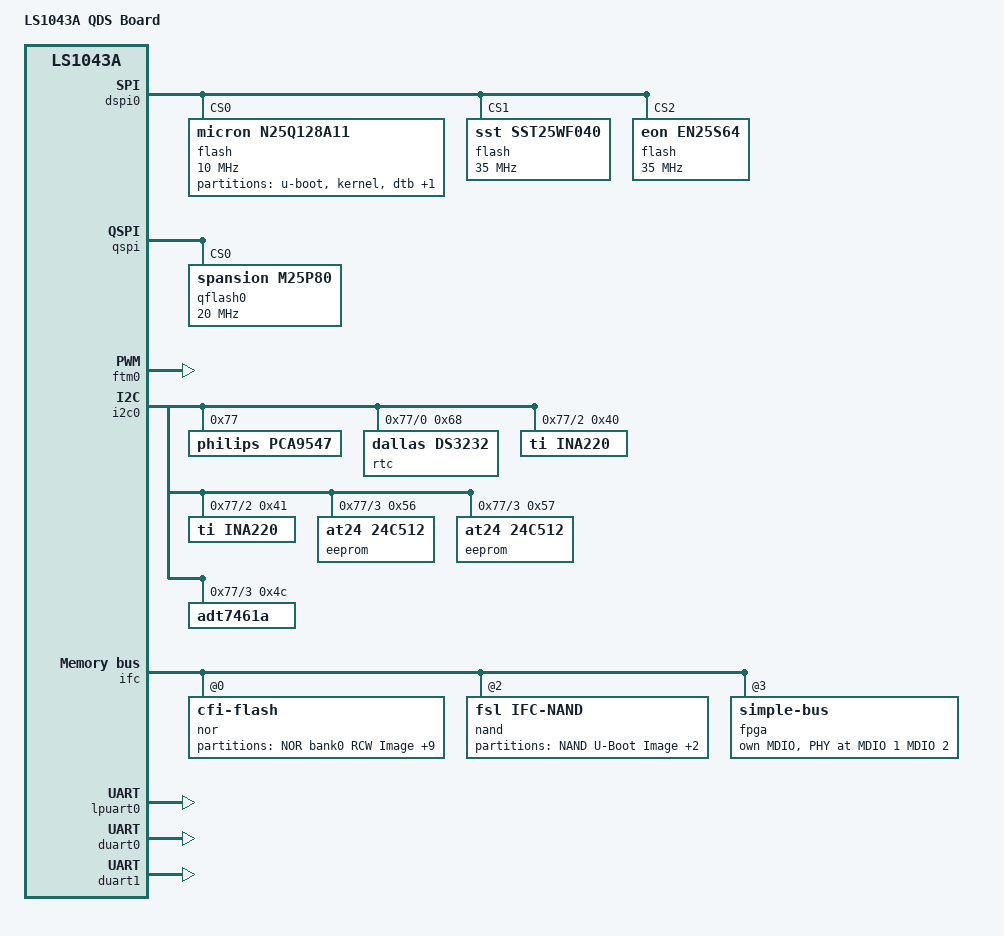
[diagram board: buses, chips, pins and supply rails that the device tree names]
/*
 * Device Tree Include file for Freescale Layerscape-1043A family SoC.
 *
 * Copyright (C) 2014-2015, Freescale Semiconductor
 *
 * Mingkai Hu <Mingkai.hu@freescale.com>
 *
 * This file is licensed under the terms of the GNU General Public
 * License version 2.  This program is licensed "as is" without any
 * warranty of any kind, whether express or implied.
 */

/dts-v1/;
/include/ "fsl-ls1043a.dtsi"

/ {
	model = "LS1043A QDS Board";

	aliases {
		serial0 = &lpuart0;
		serial1 = &lpuart1;
		serial2 = &lpuart2;
		serial3 = &lpuart3;
		serial4 = &lpuart4;
		serial5 = &lpuart5;

		gpio0 = &gpio1;
		gpio1 = &gpio2;
		gpio2 = &gpio3;
		gpio3 = &gpio4;

		sgmii_riser_s1_p1 = &sgmii_phy_s1_p1;
		sgmii_riser_s2_p1 = &sgmii_phy_s2_p1;
		sgmii_riser_s3_p1 = &sgmii_phy_s3_p1;
		sgmii_riser_s4_p1 = &sgmii_phy_s4_p1;
		qsgmii_s1_p1 = &qsgmii_phy_s1_p1;
		qsgmii_s1_p2 = &qsgmii_phy_s1_p2;
		qsgmii_s1_p3 = &qsgmii_phy_s1_p3;
		qsgmii_s1_p4 = &qsgmii_phy_s1_p4;
		qsgmii_s2_p1 = &qsgmii_phy_s2_p1;
		qsgmii_s2_p2 = &qsgmii_phy_s2_p2;
		qsgmii_s2_p3 = &qsgmii_phy_s2_p3;
		qsgmii_s2_p4 = &qsgmii_phy_s2_p4;
		emi1_slot1 = &ls1043mdio_s1;
		emi1_slot2 = &ls1043mdio_s2;
		emi1_slot3 = &ls1043mdio_s3;
		emi1_slot4 = &ls1043mdio_s4;

		phy_pcs2 = &pcsphy2;
		phy_pcs5 = &pcsphy5;
		phy_pcs6 = &pcsphy6;
		phy_pcs9 = &pcsphy9;
		pcs_mdio2 = &pcsmdio2;
		pcs_mdio5 = &pcsmdio5;
		pcs_mdio6 = &pcsmdio6;
		pcs_mdio9 = &pcsmdio9;

		ethernet0 = &fm1mac1;
		ethernet1 = &fm1mac2;
		ethernet2 = &fm1mac3;
		ethernet3 = &fm1mac4;
		ethernet4 = &fm1mac5;
		ethernet5 = &fm1mac6;
		ethernet6 = &fm1mac9;

		crypto = &crypto;
	};
};

&dspi0 {
	bus-num = <0>;
	status = "okay";

	flash@0 {
		#address-cells = <1>;
		#size-cells = <1>;
		compatible = "micron,n25q128a11";  /* 16MB */
		reg = <0>;
		spi-max-frequency = <10000000>; /* input clock */
		partition@u-boot {
			label = "u-boot";
			reg = <0x00000000 0x00100000>;
			read-only;
		};
		partition@kernel {
			label = "kernel";
			reg = <0x00100000 0x00500000>;
			read-only;
		};
		partition@dtb {
			label = "dtb";
			reg = <0x00600000 0x00100000>;
			read-only;
		};
		partition@fs {
			label = "file system";
			reg = <0x00700000 0x00900000>;
		};
	};

	flash@1 {
		#address-cells = <1>;
		#size-cells = <1>;
		compatible = "sst,sst25wf040";  /* 512KB */
		reg = <1>;
		spi-max-frequency = <35000000>; /* input clock */
	};

	flash@2 {
		#address-cells = <1>;
		#size-cells = <1>;
		compatible = "eon,en25s64";   /* 8MB */
		reg = <2>;
		spi-max-frequency = <35000000>; /* input clock */
	};
};

&qspi {
	bus-num = <0>;
	status = "okay";

	qflash0: s25fl128s@0 {
		compatible = "spansion,m25p80";
		#address-cells = <1>;
		#size-cells = <1>;
		spi-max-frequency = <20000000>;
		reg = <0>;
	};
};

&ftm0 {
	status = "okay";
};

&i2c0 {
	status = "okay";
	pca9547@77 {
		compatible = "philips,pca9547";
		reg = <0x77>;
		#address-cells = <1>;
		#size-cells = <0>;

		i2c@0 {
			#address-cells = <1>;
			#size-cells = <0>;
			reg = <0x0>;

			rtc@68 {
				compatible = "dallas,ds3232";
				reg = <0x68>;
				/* IRQ10_B */
				interrupts = <0 150 0x4>;
			};
		};

		i2c@2 {
			#address-cells = <1>;
			#size-cells = <0>;
			reg = <0x2>;

			ina220@40 {
				compatible = "ti,ina220";
				reg = <0x40>;
				shunt-resistor = <1000>;
			};

			ina220@41 {
				compatible = "ti,ina220";
				reg = <0x41>;
				shunt-resistor = <1000>;
			};
		};

		i2c@3 {
			#address-cells = <1>;
			#size-cells = <0>;
			reg = <0x3>;

			eeprom@56 {
				compatible = "at24,24c512";
				reg = <0x56>;
			};

			eeprom@57 {
				compatible = "at24,24c512";
				reg = <0x57>;
			};

			adt7461a@4c {
				compatible = "adt7461a";
				reg = <0x4c>;
			};
		};
	};
};

&ifc {
	#address-cells = <2>;
	#size-cells = <1>;
	/* NOR, NAND Flashes and FPGA on board */
	ranges = <0x0 0x0 0x0 0x60000000 0x08000000
		  0x2 0x0 0x0 0x7e800000 0x00010000
		  0x3 0x0 0x0 0x7fb00000 0x00000100>;
	status = "okay";

	nor@0,0 {
		#address-cells = <1>;
		#size-cells = <1>;
		compatible = "cfi-flash";
		reg = <0x0 0x0 0x8000000>;
		bank-width = <2>;
		device-width = <1>;

		partition@0 {
			/* 1MB for RCW and PBI Image */
			reg = <0x00000000 0x00100000>;
			label = "NOR bank0 RCW Image";
		};

		partition@100000 {
			/* 1MB for bank0 u-boot Image */
			reg = <0x00100000 0x00100000>;
			label = "NOR bank0 U-Boot Image";
		};

		partition@200000 {
			/* 1 MB for bank0 u-boot Env */
			reg = <0x00200000 0x00100000>;
			label = "NOR bank0 U-Boot Env";
		};

		partition@300000 {
			/* 1MB for FMan ucode */
			reg = <0x00300000 0x00100000>;
			label = "NOR bank0 FMan ucode";
		};

		partition@1100000 {
			/* 40MB for bank0 FIT Image */
			reg = <0x01100000 0x2800000>;
			label = "NOR bank0 FIT Image";
		};

		partition@4000000 {
			/* 1MB for bank4 RCW and PBI Image */
			reg = <0x04000000 0x100000>;
			label = "NOR bank4 RCW Image";
		};

		partition@4100000 {
			/* 1MB for bank4 u-boot Image */
			reg = <0x04100000 0x100000>;
			label = "NOR bank4 U-Boot Image";
		};

		partition@4200000 {
			/* 1 MB for bank4 u-boot Env */
			reg = <0x04200000 0x100000>;
			label = "NOR bank4 U-Boot Env";
		};

		partition@4300000 {
			/* 1 MB for bank4 FMan ucode */
			reg = <0x04300000 0x100000>;
			label = "NOR bank4 FMan ucode";
		};

		partition@5100000 {
			/* 40MB for bank4 FIT Image */
			reg = <0x05100000 0x2800000>;
			label = "NOR bank4 FIT Image";
		};
	};

	nand@2,0 {
		compatible = "fsl,ifc-nand";
		#address-cells = <1>;
		#size-cells = <1>;
		reg = <0x2 0x0 0x10000>;

		partition@0 {
			/* This location must not be altered  */
			/* 1MB for u-boot Bootloader Image */
			reg = <0x0 0x00100000>;
			label = "NAND U-Boot Image";
			read-only;
		};

		partition@140000 {
			/* 1MB for DTB Image */
			reg = <0x00140000 0x002000>;
			label = "NAND U-Boot Env";
		};

		partition@200000 {
			/* 20MB for FIT Image */
			reg = <0x00200000 0x01400000>;
			label = "NAND FIT Image";
		};
	};

	fpga: board-control@3,0 {
		#address-cells = <1>;
		#size-cells = <1>;
		compatible = "simple-bus";
		reg = <0x3 0x0 0x0000100>;
		bank-width = <1>;
		device-width = <1>;
		ranges = <0 3 0 0x100>;
	};
};

&fman0 {
	ethernet@e0000 {
		phy-handle = <&qsgmii_phy_s2_p1>;
		phy-connection-type = "sgmii";
	};

	ethernet@e2000 {
		phy-handle = <&qsgmii_phy_s2_p2>;
		phy-connection-type = "sgmii";
	};

	ethernet@e4000 {
		phy-handle = <&rgmii_phy1>;
		phy-connection-type = "rgmii";
	};

	ethernet@e6000 {
		phy-handle = <&rgmii_phy2>;
		phy-connection-type = "rgmii";
	};

	ethernet@e8000 {
		phy-handle = <&qsgmii_phy_s2_p3>;
		phy-connection-type = "sgmii";
	};

	ethernet@ea000 {
		phy-handle = <&qsgmii_phy_s2_p4>;
		phy-connection-type = "sgmii";
	};

	ethernet@f0000 { /* DTSEC9/10GEC1 */
		fixed-link = <1 1 10000 0 0>;
		phy-connection-type = "xgmii";
	};

	pcsmdio2: mdio@e3000 {
		status = "disabled";
		pcsphy2: ethernet-phy@0 {
			compatible = "ethernet-phy-ieee802.3-c45";
			reg = <0x0>;
			lane-handle = <&serdes>;
			lane-range = <0x840 0x40>;
		};
	};

	pcsmdio5: mdio@e9000 {
		status = "disabled";
		pcsphy5: ethernet-phy@0 {
			compatible = "ethernet-phy-ieee802.3-c45";
			reg = <0x0>;
			lane-handle = <&serdes>;
			lane-range = <0x880 0x40>;
		};
	};

	pcsmdio6: mdio@eb000 {
		status = "disabled";
		pcsphy6: ethernet-phy@0 {
			compatible = "ethernet-phy-ieee802.3-c45";
			reg = <0x0>;
			lane-handle = <&serdes>;
			lane-range = <0x8c0 0x40>;
		};
	};

	pcsmdio9: mdio@f1000 {
		status = "disabled";
		pcsphy9: ethernet-phy@0 {
			compatible = "ethernet-phy-ieee802.3-c45";
			reg = <0x0>;
			lane-handle = <&serdes>;
			lane-range = <0x800 0x40>;
		};
	};

	mdio0: mdio@fc000 {
	};

	xmdio0: mdio@fd000 {
	};
};

&fpga {
	mdio-mux-emi1 {
		compatible = "mdio-mux-mmioreg", "mdio-mux";
		mdio-parent-bus = <&mdio0>;
		#address-cells = <1>;
		#size-cells = <0>;
		reg = <0x54 1>;    /* BRDCFG4 */
		mux-mask = <0xe0>; /* EMI1 */

		/* On-board RGMII1 PHY */
		ls1043mdio0: mdio@0 {
			reg = <0>;
			#address-cells = <1>;
			#size-cells = <0>;

			rgmii_phy1: ethernet-phy@1 { /* MAC3 */
				reg = <0x1>;
			};
		};

		/* On-board RGMII2 PHY */
		ls1043mdio1: mdio@1 {
			reg = <0x20>;
			#address-cells = <1>;
			#size-cells = <0>;

			rgmii_phy2: ethernet-phy@2 { /* MAC4 */
				reg = <0x2>;
			};
		};

		/* Slot 1 */
		ls1043mdio_s1: mdio@2 {
			reg = <0x40>;
			#address-cells = <1>;
			#size-cells = <0>;
			status = "disabled";

			qsgmii_phy_s1_p1: ethernet-phy@4 {
				reg = <0x4>;
			};
			qsgmii_phy_s1_p2: ethernet-phy@5 {
				reg = <0x5>;
			};
			qsgmii_phy_s1_p3: ethernet-phy@6 {
				reg = <0x6>;
			};
			qsgmii_phy_s1_p4: ethernet-phy@7 {
				reg = <0x7>;
			};

			sgmii_phy_s1_p1: ethernet-phy@1c {
				reg = <0x1c>;
			};
		};

		/* Slot 2 */
		ls1043mdio_s2: mdio@3 {
			reg = <0x60>;
			#address-cells = <1>;
			#size-cells = <0>;
			status = "disabled";

			qsgmii_phy_s2_p1: ethernet-phy@8 {
				reg = <0x8>;
			};
			qsgmii_phy_s2_p2: ethernet-phy@9 {
				reg = <0x9>;
			};
			qsgmii_phy_s2_p3: ethernet-phy@a {
				reg = <0xa>;
			};
			qsgmii_phy_s2_p4: ethernet-phy@b {
				reg = <0xb>;
			};

			sgmii_phy_s2_p1: ethernet-phy@1c {
				reg = <0x1c>;
			};
		};

		/* Slot 3 */
		ls1043mdio_s3: mdio@4 {
			reg = <0x80>;
			#address-cells = <1>;
			#size-cells = <0>;
			status = "disabled";

			sgmii_phy_s3_p1: ethernet-phy@1c {
				reg = <0x1c>;
			};
		};

		/* Slot 4 */
		ls1043mdio_s4: mdio@5 {
			reg = <0xa0>;
			#address-cells = <1>;
			#size-cells = <0>;
			status = "disabled";

			sgmii_phy_s4_p1: ethernet-phy@1c {
				reg = <0x1c>;
			};
		};
	};
};

&lpuart0 {
	status = "okay";
};

&duart0 {
	status = "okay";
};

&duart1 {
	status = "okay";
};
